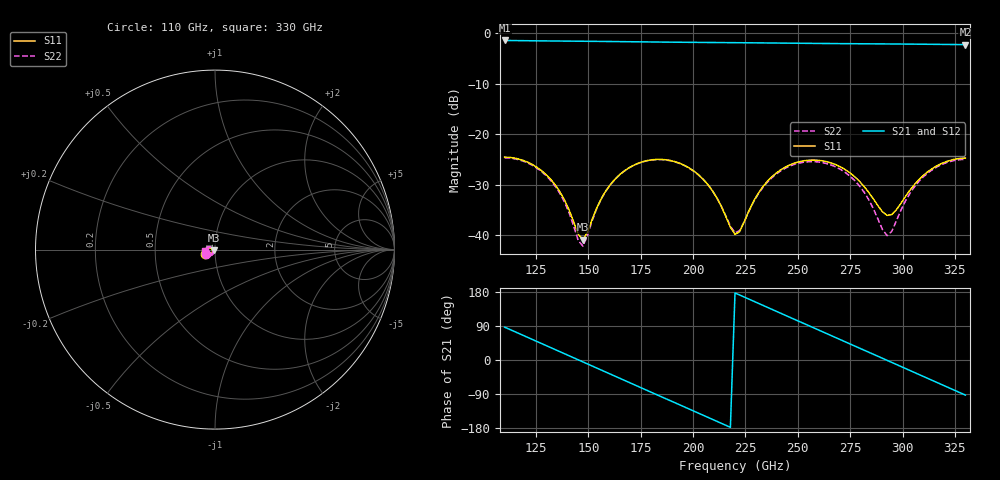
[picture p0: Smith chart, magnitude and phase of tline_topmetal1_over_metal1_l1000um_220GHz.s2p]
#  GHZ S DB R 50
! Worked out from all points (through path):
!   101 points, 110 GHz to 330 GHz, reference 50 ohm
!   highest |S21| = -1.41 dB at 110 GHz (marker M1); lowest = -2.2 dB at 330 GHz (marker M2)
!   group delay of S21, straight-line fit = 6.81 ps
!   lowest |S11| = -40.9 dB at 147.4 GHz (marker M3), VSWR 1.02, Z = 49.2 - j0.348 ohm
!   |S11| at or under -10 dB: start of sweep to end of sweep
!   |S22| runs from -42.2 to -24.7 dB; largest |S21 - S12| = 9.4e-14
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110  -24.53 -153.2  -1.41 86.7  -1.41 86.7  -24.65 -154.6
121  -25.54 -178.0  -1.47 59.7  -1.47 59.7  -25.69 -179.8
132  -28.93 160.6  -1.51 32.8  -1.51 32.8  -29.16 158.0
138.6  -33.03 154.1  -1.54 16.6  -1.54 16.6  -33.43 150.6
147.4  -40.89 -156.9  -1.57 -5.0  -1.57 -5.0  -42.18 -154.1
156.2  -32.72 -114.4  -1.61 -26.6  -1.61 -26.6  -32.79 -112.4
162.8  -28.86 -121.3  -1.63 -42.9  -1.63 -42.9  -28.89 -120.6
173.8  -25.75 -141.9  -1.68 -69.9  -1.68 -69.9  -25.78 -142.2
184.8  -24.99 -164.9  -1.73 -96.8  -1.73 -96.8  -25.03 -165.6
193.6  -25.76 177.1  -1.77 -118.4  -1.77 -118.4  -25.80 176.1
204.6  -28.82 157.5  -1.81 -145.3  -1.81 -145.3  -28.86 156.3
220  -39.84 -170.7  -1.85 177.0  -1.85 177.0  -39.53 -173.6
237.6  -28.42 -128.2  -1.92 133.8  -1.92 133.8  -28.62 -132.2
248.6  -25.69 -147.5  -1.96 106.8  -1.96 106.8  -25.93 -152.0
257.4  -25.11 -164.4  -2.00 85.3  -2.00 85.3  -25.42 -169.7
277.2  -28.44 162.7  -2.06 36.8  -2.06 36.8  -29.20 153.6
290.4  -35.36 176.1  -2.10 4.5  -2.10 4.5  -38.88 167.8
294.8  -35.93 -157.5  -2.11 -6.3  -2.11 -6.3  -39.27 -147.7
301.4  -32.32 -134.2  -2.13 -22.5  -2.13 -22.5  -33.21 -124.2
310.2  -28.05 -136.1  -2.16 -44.1  -2.16 -44.1  -28.34 -131.8
321.2  -25.37 -152.3  -2.20 -71.0  -2.20 -71.0  -25.59 -151.7
330  -24.71 -167.9  -2.24 -92.5  -2.24 -92.5  -24.98 -169.3
